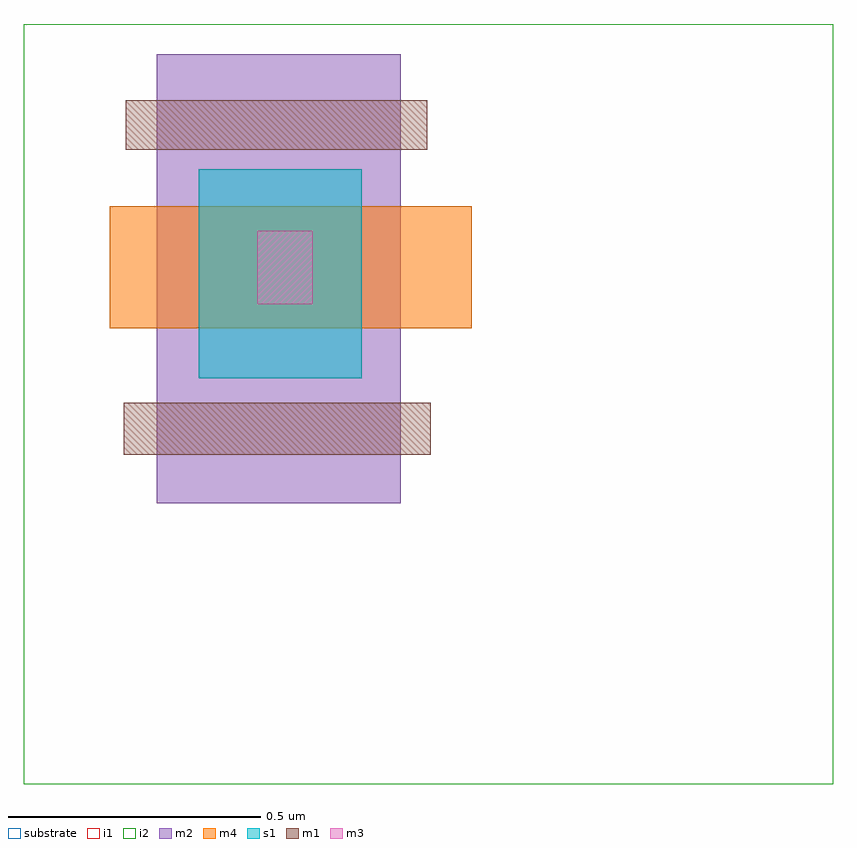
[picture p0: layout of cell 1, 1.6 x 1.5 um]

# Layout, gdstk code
import gdstk
lib = gdstk.Library(unit=1e-6, precision=1e-09)
def R(c, l, rs):  # rectangles x0, y0, x1, y1
    for r in rs: c.add(gdstk.rectangle(r[:2], r[2:], *l))
substrate = (1, 0)
m1 = (2, 0)
i1 = (3, 0)
m2 = (4, 0)
s1 = (5, 0)
i2 = (6, 0)
m3 = (7, 0)
m4 = (8, 0)

c_1 = lib.new_cell('1')
R(c_1, substrate, [(-0.8,-0.751,0.8,0.751)])
R(c_1, m1, [(-0.602,-0.1,0.004,0.002), (-0.598,0.502,-0.002,0.6)])
R(c_1, i1, [(-0.8,-0.751,0.8,0.751)])
R(c_1, m2, [(-0.537,-0.196,-0.055,0.691)])
R(c_1, s1, [(-0.454,0.051,-0.132,0.464)])
R(c_1, i2, [(-0.8,-0.751,0.8,0.751)])
R(c_1, m3, [(-0.338,0.197,-0.229,0.342)])
R(c_1, m4, [(-0.63,0.15,0.085,0.391)])

lib.write_gds('1.gds')
